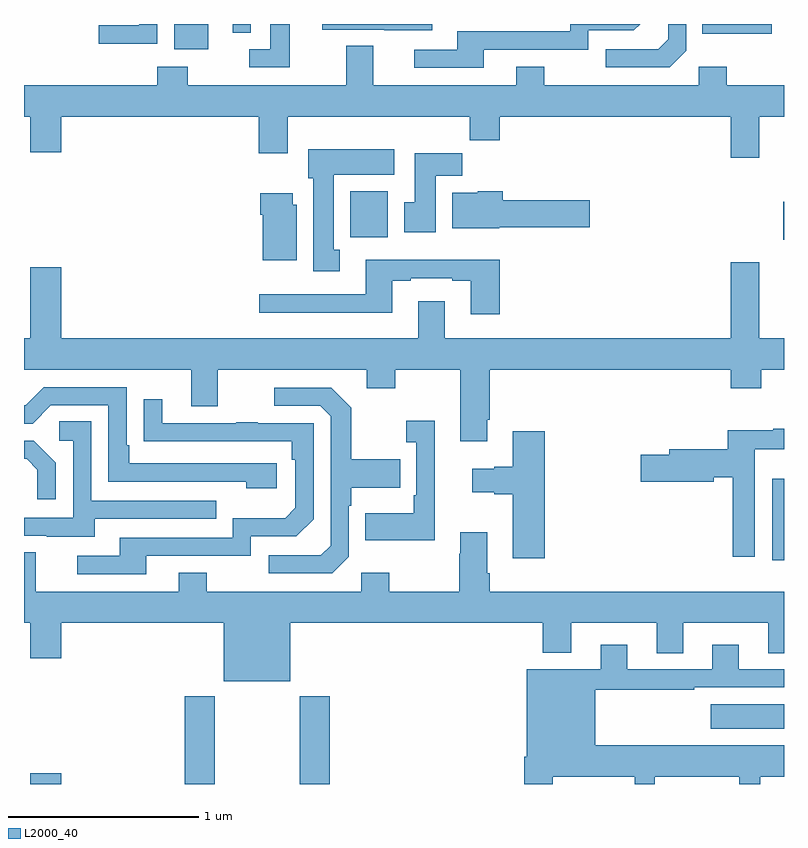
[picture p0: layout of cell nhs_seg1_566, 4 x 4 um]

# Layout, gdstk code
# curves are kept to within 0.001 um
import gdstk
lib = gdstk.Library(unit=1e-6, precision=1e-09)
def R(c, l, rs):  # rectangles x0, y0, x1, y1
    for r in rs: c.add(gdstk.rectangle(r[:2], r[2:], *l))
def P(c, l, *ps):  # polygons
    for p in ps: c.add(gdstk.Polygon(p, *l))
L2000_40 = (2000, 40)

nhs_seg1_566 = lib.new_cell('nhs_seg1_566')
R(nhs_seg1_566, L2000_40, [(141.032,568.199,141.196,568.255), (141.845,568.199,142.005,568.66), (142.45,568.199,142.61,568.66), (144.615,568.49,145,568.618), (144.938,569.376,145,569.806), (144.995,571.064,145,571.264), (142.718,571.076,142.915,571.318), (141.791,572.066,141.97,572.199), (144.571,572.147,144.936,572.199), (142.098,572.152,142.194,572.199)])
P(nhs_seg1_566, L2000_40, [(141.702,572.199),(141.606,572.199),(141.606,572.193),(141.393,572.193),(141.393,572.095),(141.702,572.095)],
  [(143.149,572.199),(142.571,572.199),(142.571,572.169),(142.895,572.169),(142.895,572.165),(143.149,572.165)],
  [(144.486,572.058),(144.486,572.199),(144.39,572.199),(144.39,572.118),(144.339,572.067),(144.063,572.067),(144.063,571.971),(144.399,571.971)],
  [(143.419,572.064),(143.97,572.064),(143.97,572.166),(144.21,572.166),(144.243,572.199),(143.874,572.199),(143.874,572.16),(143.279,572.16),(143.279,572.064),(143.055,572.064),(143.055,571.968),(143.419,571.968)],
  [(142.399,572.199),(142.295,572.199),(142.295,572.067),(142.185,572.067),(142.185,571.971),(142.399,571.971)],
  [(144.719,571.494),(144.871,571.494),(144.871,571.712),(145,571.712),(145,571.876),(144.699,571.876),(144.699,571.975),(144.552,571.975),(144.552,571.876),(143.739,571.876),(143.739,571.975),(143.591,571.975),(143.591,571.876),(142.837,571.876),(142.837,572.084),(142.697,572.084),(142.697,571.876),(141.861,571.876),(141.861,571.975),(141.701,571.975),(141.701,571.876),(141,571.876),(141,571.712),(141.032,571.712),(141.032,571.524),(141.196,571.524),(141.196,571.712),(142.235,571.712),(142.235,571.518),(142.387,571.518),(142.387,571.712),(143.347,571.712),(143.347,571.588),(143.504,571.588),(143.504,571.712),(144.719,571.712)],
  [(142.663,571.01),(142.63,571.01),(142.63,571.406),(142.948,571.406),(142.948,571.54),(142.496,571.54),(142.496,571.386),(142.523,571.386),(142.523,570.897),(142.663,570.897)],
  [(143.167,571.4),(143.306,571.4),(143.306,571.519),(143.057,571.519),(143.057,571.26),(143,571.26),(143,571.104),(143.167,571.104)],
  [(143.502,571.13),(143.977,571.13),(143.977,571.272),(143.519,571.272),(143.519,571.318),(143.388,571.318),(143.388,571.312),(143.255,571.312),(143.255,571.124),(143.502,571.124)],
  [(142.435,571.248),(142.414,571.248),(142.414,571.309),(142.244,571.309),(142.244,571.196),(142.256,571.196),(142.256,570.956),(142.435,570.956)],
  [(143.504,570.958),(142.799,570.958),(142.799,570.777),(142.239,570.777),(142.239,570.68),(142.939,570.68),(142.939,570.849),(143.035,570.849),(143.035,570.861),(143.255,570.861),(143.255,570.849),(143.351,570.849),(143.351,570.672),(143.504,570.672)],
  [(143.437,570.115),(143.45,570.115),(143.45,570.38),(144.719,570.38),(144.719,570.281),(144.879,570.281),(144.879,570.38),(145,570.38),(145,570.544),(144.871,570.544),(144.871,570.946),(144.719,570.946),(144.719,570.544),(143.215,570.544),(143.215,570.739),(143.075,570.739),(143.075,570.544),(141.196,570.544),(141.196,570.919),(141.032,570.919),(141.032,570.544),(141,570.544),(141,570.38),(141.881,570.38),(141.881,570.186),(142.021,570.186),(142.021,570.38),(142.805,570.38),(142.805,570.281),(142.953,570.281),(142.953,570.38),(143.297,570.38),(143.297,570.003),(143.437,570.003)],
  [(142.33,569.886),(141.553,569.886),(141.553,569.983),(141.54,569.983),(141.54,570.288),(141.105,570.288),(141.009,570.192),(141,570.192),(141,570.096),(141.045,570.096),(141.141,570.192),(141.444,570.192),(141.444,569.79),(142.169,569.79),(142.169,569.756),(142.33,569.756)],
  [(142.71,569.394),(142.71,569.663),(142.723,569.663),(142.723,569.759),(142.979,569.759),(142.979,569.907),(142.723,569.907),(142.723,570.179),(142.617,570.285),(142.317,570.285),(142.317,570.189),(142.56,570.189),(142.614,570.135),(142.614,569.454),(142.563,569.403),(142.287,569.403),(142.287,569.307),(142.623,569.307)],
  [(141.643,569.4),(142.194,569.4),(142.194,569.502),(142.434,569.502),(142.524,569.592),(142.524,570.099),(142.229,570.099),(142.229,570.104),(142.117,570.104),(142.117,570.099),(141.727,570.099),(141.727,570.223),(141.631,570.223),(141.631,570.004),(142.408,570.003),(142.408,569.906),(142.428,569.906),(142.428,569.652),(142.375,569.599),(142.098,569.599),(142.098,569.496),(141.503,569.496),(141.503,569.4),(141.279,569.4),(141.279,569.304),(141.643,569.304)],
  [(143.162,570.112),(143.013,570.112),(143.013,569.999),(143.064,569.999),(143.064,569.719),(143.052,569.719),(143.052,569.623),(142.795,569.623),(142.795,569.483),(143.162,569.483)],
  [(141.373,569.595),(142.013,569.595),(142.013,569.691),(141.354,569.691),(141.354,570.107),(141.186,570.107),(141.186,570.006),(141.258,570.006),(141.258,569.601),(141,569.601),(141,569.505),(141.119,569.505),(141.119,569.501),(141.373,569.501)],
  [(144.846,569.96),(145,569.96),(145,570.07),(144.943,570.07),(144.943,570.06),(144.704,570.06),(144.704,569.961),(144.395,569.961),(144.395,569.931),(144.246,569.931),(144.246,569.789),(144.63,569.789),(144.63,569.813),(144.73,569.813),(144.73,569.394),(144.846,569.394)],
  [(143.741,570.055),(143.573,570.055),(143.573,569.87),(143.474,569.87),(143.474,569.857),(143.358,569.857),(143.358,569.735),(143.474,569.735),(143.474,569.723),(143.573,569.723),(143.573,569.388),(143.741,569.388)],
  [(141.168,569.89),(141.052,570.006),(141,570.006),(141,569.91),(141.014,569.91),(141.071,569.853),(141.071,569.697),(141.168,569.697)],
  [(142.402,569.048),(143.729,569.048),(143.729,568.889),(143.881,568.889),(143.881,569.048),(144.329,569.048),(144.329,568.888),(144.469,568.888),(144.469,569.048),(144.917,569.048),(144.917,568.888),(145,568.888),(145,569.212),(143.45,569.212),(143.45,569.308),(143.437,569.308),(143.437,569.524),(143.297,569.524),(143.297,569.411),(143.29,569.411),(143.29,569.212),(142.923,569.212),(142.923,569.311),(142.776,569.311),(142.776,569.212),(141.963,569.212),(141.963,569.311),(141.815,569.311),(141.815,569.212),(141.061,569.212),(141.061,569.42),(141,569.42),(141,569.048),(141.032,569.048),(141.032,568.86),(141.196,568.86),(141.196,569.048),(142.052,569.048),(142.052,568.739),(142.402,568.739)],
  [(143.782,568.238),(144.215,568.238),(144.215,568.199),(144.319,568.199),(144.319,568.238),(144.764,568.238),(144.764,568.199),(144.874,568.199),(144.874,568.238),(145,568.238),(145,568.402),(144.007,568.402),(144.007,568.695),(144.527,568.695),(144.527,568.707),(145,568.707),(145,568.803),(144.763,568.803),(144.763,568.933),(144.623,568.933),(144.623,568.803),(144.175,568.803),(144.175,568.933),(144.035,568.933),(144.035,568.804),(143.645,568.804),(143.645,568.342),(143.633,568.342),(143.633,568.199),(143.782,568.199)])

lib.write_gds('nhs_seg1_566.gds')
